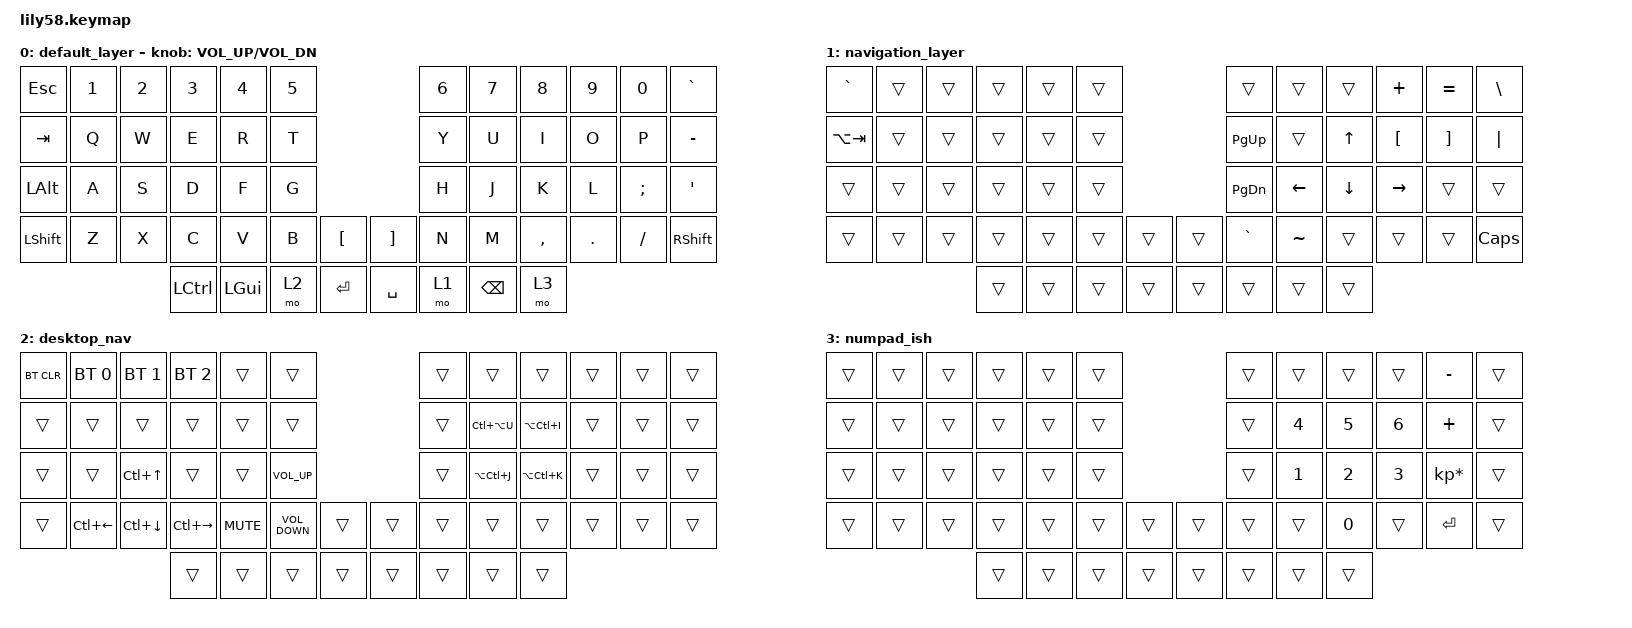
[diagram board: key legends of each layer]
/*
 * Copyright (c) 2020 The ZMK Contributors
 *
 * SPDX-License-Identifier: MIT
 */

#include <behaviors.dtsi>
#include <dt-bindings/zmk/bt.h>
#include <dt-bindings/zmk/keys.h>

/ {
    keymap {
        compatible = "zmk,keymap";

        default_layer {
            // ------------------------------------------------------------------------------------------------------------
            // |  ESC  |  1  |  2  |  3   |  4   |  5   |                   |  6   |  7    |  8    |  9   |   0   |   `   |
            // |  TAB  |  Q  |  W  |  E   |  R   |  T   |                   |  Y   |  U    |  I    |  O   |   P   |   -   |
            // |  CTRL |  A  |  S  |  D   |  F   |  G   |                   |  H   |  J    |  K    |  L   |   ;   |   '   |
            // | SHIFT |  Z  |  X  |  C   |  V   |  B   |   "["  |  |  "]"  |  N   |  M    |  ,    |  .   |   /   | SHIFT |
            //                     | ALT  | GUI  | LOWER|  ENTER |  | SPACE | RAISE| BSPC  | GUI   |

            bindings = <
&kp ESC       &kp N1  &kp N2  &kp N3     &kp N4    &kp N5                         &kp N6  &kp N7    &kp N8     &kp N9   &kp N0    &kp GRAVE
&kp TAB       &kp Q   &kp W   &kp E      &kp R     &kp T                          &kp Y   &kp U     &kp I      &kp O    &kp P     &kp MINUS
&kp LEFT_ALT  &kp A   &kp S   &kp D      &kp F     &kp G                          &kp H   &kp J     &kp K      &kp L    &kp SEMI  &kp SQT
&kp LSHFT     &kp Z   &kp X   &kp C      &kp V     &kp B   &kp LBKT    &kp RBKT   &kp N   &kp M     &kp COMMA  &kp DOT  &kp FSLH  &kp RSHFT
                              &kp LCTRL  &kp LGUI  &mo 2   &kp RET     &kp SPACE  &mo 1   &kp BSPC  &mo 3
            >;

            sensor-bindings = <&inc_dec_kp C_VOL_UP C_VOL_DN>;
        };

        navigation_layer {
            bindings = <
&kp GRAVE    &trans  &trans  &trans  &trans  &trans                    &trans         &trans          &trans          &kp PLUS          &kp EQUAL          &kp BACKSLASH
&kp LA(TAB)  &trans  &trans  &trans  &trans  &trans                    &kp PAGE_UP    &trans          &kp UP_ARROW    &kp LEFT_BRACKET  &kp RIGHT_BRACKET  &kp PIPE
&trans       &trans  &trans  &trans  &trans  &trans                    &kp PAGE_DOWN  &kp LEFT_ARROW  &kp DOWN_ARROW  &kp RIGHT_ARROW   &trans             &trans
&trans       &trans  &trans  &trans  &trans  &trans  &trans    &trans  &kp GRAVE      &kp TILDE       &trans          &trans            &trans             &kp CAPSLOCK
                             &trans  &trans  &trans  &trans    &trans  &trans         &trans          &trans
            >;
        };

        desktop_nav {
            bindings = <
&bt BT_CLR  &bt BT_SEL 0        &bt BT_SEL 1        &bt BT_SEL 2         &trans      &trans                               &trans  &trans         &trans         &trans  &trans  &trans
&trans      &trans              &trans              &trans               &trans      &trans                               &trans  &kp LC(LA(U))  &kp LA(LC(I))  &trans  &trans  &trans
&trans      &trans              &kp LC(UP_ARROW)    &trans               &trans      &kp C_VOLUME_UP                      &trans  &kp LA(LC(J))  &kp LA(LC(K))  &trans  &trans  &trans
&trans      &kp LC(LEFT_ARROW)  &kp LC(DOWN_ARROW)  &kp LC(RIGHT_ARROW)  &kp K_MUTE  &kp C_VOLUME_DOWN  &trans    &trans  &trans  &trans         &trans         &trans  &trans  &trans
                                                    &trans               &trans      &trans             &trans    &trans  &trans  &trans         &trans
            >;
        };

        numpad_ish {
            bindings = <
&trans  &trans  &trans  &trans  &trans  &trans                    &trans  &trans        &trans        &trans        &kp MINUS        &trans
&trans  &trans  &trans  &trans  &trans  &trans                    &trans  &kp NUMBER_4  &kp N5        &kp NUMBER_6  &kp PLUS         &trans
&trans  &trans  &trans  &trans  &trans  &trans                    &trans  &kp NUMBER_1  &kp NUMBER_2  &kp NUMBER_3  &kp KP_MULTIPLY  &trans
&trans  &trans  &trans  &trans  &trans  &trans  &trans    &trans  &trans  &trans        &kp NUMBER_0  &trans        &kp ENTER        &trans
                        &trans  &trans  &trans  &trans    &trans  &trans  &trans        &trans
            >;
        };
    };
};
